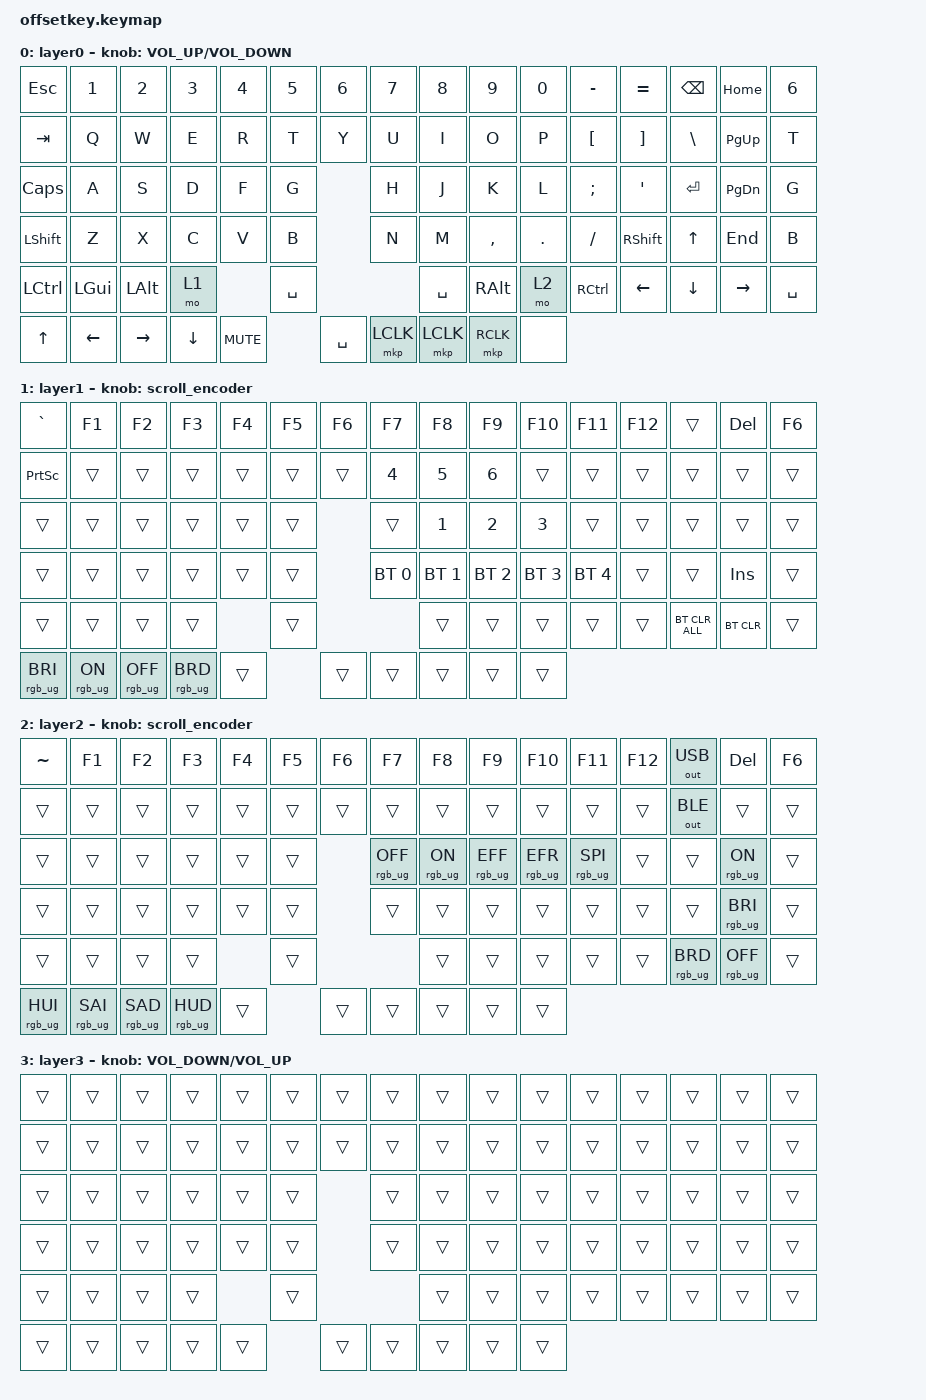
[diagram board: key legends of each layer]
#define ZMK_POINTING_DEFAULT_MOVE_VAL 1200  // 600
#define ZMK_POINTING_DEFAULT_SCRL_VAL 35    // 10
#define BASE 0
#define LOWER 1
#define MOUSE_KEYS 2
#define MOUSE_TP 3
#define MOUSE_TP_SET 4

#include <input/processors.dtsi>
#include <zephyr/dt-bindings/input/input-event-codes.h>
#include <behaviors/toggle_io.dtsi>
#include <behaviors/on_io.dtsi>
#include <behaviors/off_io.dtsi>
#include <behaviors.dtsi>
#include <dt-bindings/zmk/bt.h>
#include <dt-bindings/zmk/keys.h>
#include <dt-bindings/zmk/outputs.h>
#include <dt-bindings/zmk/pointing.h>
#include <dt-bindings/zmk/rgb.h>

&mmv_input_listener { input-processors = <&zip_xy_scaler 2 1>; };

&msc_input_listener { input-processors = <&zip_scroll_scaler 2 1>; };

&msc {
    acceleration-exponent = <0>;      // 0
    time-to-max-speed-ms = <0>;       // 300
    delay-ms = <0>;                   // 0
};

&mmv {
    time-to-max-speed-ms = <400>;
    acceleration-exponent = <1>;
};

/ {
    scroll_encoder: scroll_encoder {
        compatible = "zmk,behavior-sensor-rotate";
        #sensor-binding-cells = <0>;
        bindings = <&msc SCRL_UP>, <&msc SCRL_DOWN>;

        tap-ms = <100>;
    };

    behaviors {
        ltq: ltq {
            compatible = "zmk,behavior-hold-tap";
            label = "LTQ";
            bindings = <&mo>, <&kp>;

            #binding-cells = <2>;
            tapping-term-ms = <200>;
            quick-tap-ms = <180>;
        };
    };

    combos {
        compatible = "zmk,combos";

        flash {
            bindings = <&bootloader>;
            key-positions = <0 11>;
        };
    };

    keymap {
        compatible = "zmk,keymap";

        BASE {
            bindings = <
&kp ESC       &kp N1          &kp N2           &kp N3          &kp N4     &kp N5     &kp N6      &kp N7     &kp N8     &kp N9         &kp N0   &kp MINUS  &kp EQUAL        &kp BSPC      &kp HOME                         &kp NUMBER_6
&kp TAB       &kp Q           &kp W            &kp E           &kp R      &kp T                  &kp Y      &kp U      &kp I          &kp O    &kp P      &kp LBKT         &kp RBKT      &kp BSLH         &kp PG_UP       &kp T
&kp CAPS      &kp A           &kp S            &kp D           &kp F      &kp G                  &kp H      &kp J      &kp K          &kp L    &kp SEMI   &kp APOS         &kp ENTER     &kp PG_DN                        &kp G
&kp LSHFT     &kp Z           &kp X            &kp C           &kp V      &kp B                  &kp N      &kp M      &kp COMMA      &kp DOT  &kp FSLH   &kp RIGHT_SHIFT  &kp UP_ARROW  &kp END                          &kp B
&kp LCTRL     &kp LEFT_GUI    &kp LEFT_ALT     &mo 1                      &kp SPACE                         &kp SPACE  &kp RIGHT_ALT  &mo 2    &kp RCTRL  &kp LEFT         &kp DOWN      &kp RIGHT                        &kp SPACE
&kp UP_ARROW  &kp LEFT_ARROW  &kp RIGHT_ARROW  &kp DOWN_ARROW  &kp C_MUTE  &kp SPACE              &mkp LCLK  &mkp LCLK  &mkp RCLK      &none
            >;

            label = "layer0";
            sensor-bindings = <&inc_dec_kp C_VOLUME_UP C_VOLUME_DOWN>;
        };

        layer_1 {
            bindings = <
&kp GRAVE  &kp F1  &kp F2  &kp F3  &kp F4  &kp F5  &kp F6      &kp F7        &kp F8        &kp F9        &kp F10       &kp F11       &kp F12  &trans   &kp DEL          &kp F6
&kp PSCRN  &trans  &trans  &trans  &trans  &trans              &trans        &kp NUMBER_4  &kp NUMBER_5  &kp NUMBER_6  &trans        &trans   &trans   &trans  &trans   &trans
&trans     &trans  &trans  &trans  &trans  &trans              &trans        &kp NUMBER_1  &kp NUMBER_2  &kp NUMBER_3  &trans        &trans   &trans   &trans           &trans
&trans     &trans  &trans  &trans  &trans  &trans              &bt BT_SEL 0  &bt BT_SEL 1  &bt BT_SEL 2  &bt BT_SEL 3  &bt BT_SEL 4  &trans   &trans  &kp INS          &trans
&trans     &trans  &trans  &trans          &trans                            &trans        &trans        &trans        &trans        &trans   &bt BT_CLR_ALL  &bt BT_CLR  &trans
&rgb_ug RGB_BRI   &rgb_ug RGB_ON  &rgb_ug RGB_OFF &rgb_ug RGB_BRD  &trans  &trans              &trans        &trans        &trans        &trans
            >;

            label = "layer1";
            sensor-bindings = <&scroll_encoder>;
        };

        layer_2 {
            bindings = <
&kp TILDE  &kp F1  &kp F2  &kp F3  &kp F4  &kp F5  &kp F6      &kp F7           &kp F8          &kp F9           &kp F10          &kp F11          &kp F12  &out OUT_USB   &kp DEL          &kp F6
&trans     &trans  &trans  &trans  &trans  &trans              &trans           &trans          &trans           &trans           &trans           &trans   &trans   &out OUT_BLE   &trans  &trans
&trans     &trans  &trans  &trans  &trans  &trans              &rgb_ug RGB_OFF  &rgb_ug RGB_ON  &rgb_ug RGB_EFF  &rgb_ug RGB_EFR  &rgb_ug RGB_SPI  &trans   &trans   &rgb_ug RGB_ON         &trans
&trans     &trans  &trans  &trans  &trans  &trans              &trans           &trans          &trans           &trans           &trans           &trans   &trans   &rgb_ug RGB_BRI         &trans
&trans     &trans  &trans  &trans          &trans                               &trans          &trans           &trans           &trans           &trans   &rgb_ug RGB_BRD  &rgb_ug RGB_OFF  &trans
&rgb_ug RGB_HUI   &rgb_ug RGB_SAI  &rgb_ug RGB_SAD &rgb_ug RGB_HUD &trans  &trans              &trans           &trans          &trans           &trans
            >;

            label = "layer2";
            sensor-bindings = <&scroll_encoder>;
        };

        layer_3 {
            bindings = <
&trans  &trans  &trans  &trans  &trans  &trans  &trans      &trans  &trans  &trans  &trans  &trans  &trans  &trans  &trans          &trans
&trans  &trans  &trans  &trans  &trans  &trans              &trans  &trans  &trans  &trans  &trans  &trans  &trans  &trans  &trans  &trans
&trans  &trans  &trans  &trans  &trans  &trans              &trans  &trans  &trans  &trans  &trans  &trans  &trans  &trans          &trans
&trans  &trans  &trans  &trans  &trans  &trans              &trans  &trans  &trans  &trans  &trans  &trans  &trans  &trans          &trans
&trans  &trans  &trans  &trans          &trans                      &trans  &trans  &trans  &trans  &trans  &trans  &trans          &trans
&trans  &trans  &trans  &trans  &trans  &trans              &trans  &trans  &trans  &trans
            >;

            label = "layer3";
            sensor-bindings = <&inc_dec_kp C_VOLUME_DOWN C_VOLUME_UP>;
        };
    };
};
